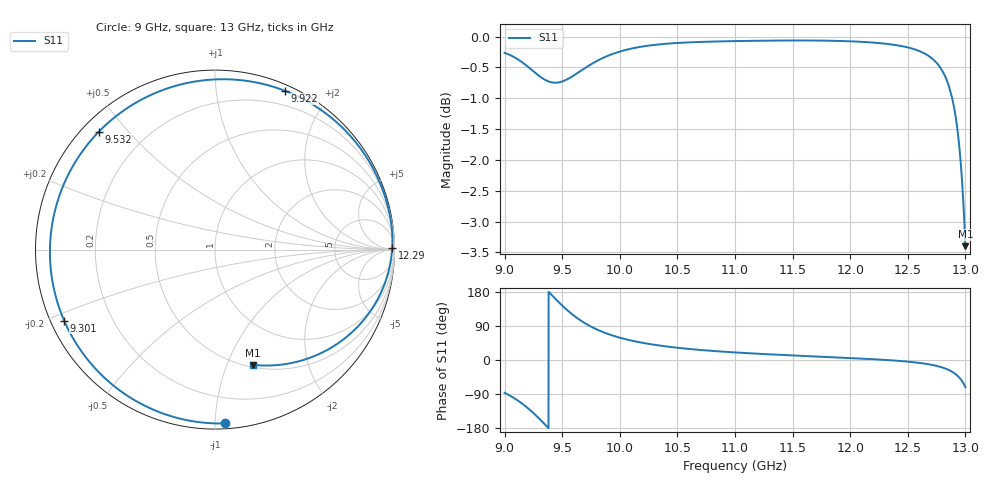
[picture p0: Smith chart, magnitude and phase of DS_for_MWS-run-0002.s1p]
! TOUCHSTONE file generated by CST DESIGN STUDIO
! Date and time: Tue Feb  4 12:50:13 2025
! Project name: C:\Work\MatlabApps\UnitCellOptimizationMatlab\CST\unitcell.cst
! Tree item: Tasks\Sweep1\SPara1\S-Parameters
! Header version: 2024
! Port assignment regex: !\s*Touchstone port\s*([0-9]+)\s*=\s*(CST MWS port|CST DES external port|CST DES block port)\s*(.+)\s* \(\"(.*)\"\)(\s*mode\s*([0-9]+))?.*
! Touchstone port assignment:
! Touchstone port 1 = CST DES external port 1 ("")
# GHz S MA R 50
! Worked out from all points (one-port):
!   4001 points, 9 GHz to 13 GHz, reference 50 ohm
!   lowest |S11| = -3.4 dB at 13 GHz (marker M1), VSWR 5.17, Z = 26.2 - j62.1 ohm
!   |S11| at or under -10 dB: nowhere
!   S11 on the Smith chart (normalised r, x): 9 GHz: 0.03, -1.06; 9.301 GHz: 0.04, -0.22; 9.532 GHz: 0.05, +0.42; 9.922 GHz: 0.06, +1.53; 12.29 GHz: open; 13 GHz: 0.52, -1.24
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9  0.97 -86.5
9.088  0.9618 -101.6
9.162  0.9517 -117.3
9.231  0.9404 -134.7
9.301  0.929 -154.8
9.35  0.9225 -170.0
9.398  0.9186 174.8
9.446  0.9175 159.8
9.5  0.9196 143.7
9.532  0.9222 134.7
9.607  0.9309 115.8
9.69  0.942 98.5
9.804  0.9559 80.1
9.922  0.9669 66.1
10  0.9725 58.9
10.216  0.9823 44.3
10.5  0.9882 32.3
11  0.9917 20.0
11.5  0.9928 12.1
12  0.9913 5.2
12.293  0.9871 0.4
12.5  0.98 -4.3
12.703  0.9612 -12.5
12.849  0.9161 -25.4
12.893  0.8845 -32.6
12.929  0.8434 -40.9
12.957  0.7953 -50.0
13  0.6761 -71.8
